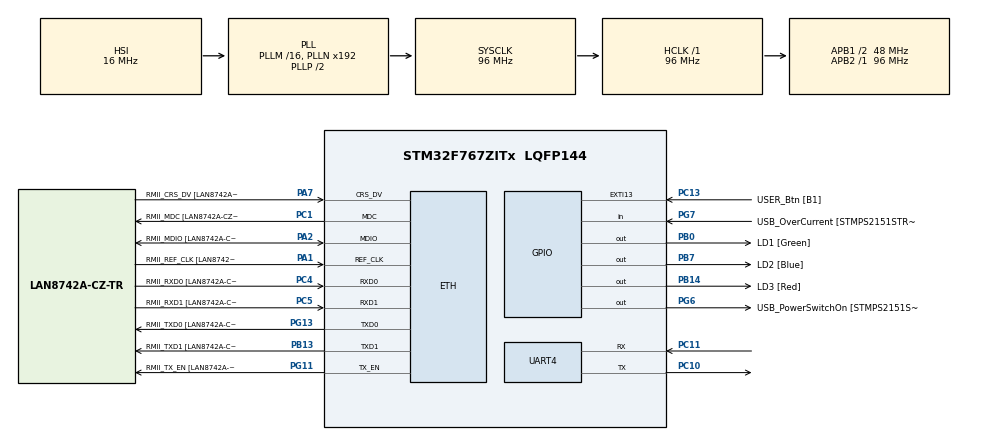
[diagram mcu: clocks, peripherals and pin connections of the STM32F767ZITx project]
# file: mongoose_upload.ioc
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ETH.MediaInterface=HAL_ETH_RMII_MODE
Mcu.Family=STM32F7
Mcu.Name=STM32F767ZITx
Mcu.Package=LQFP144
NVIC.ETH_IRQn=true\:0\:0\:false\:false\:false\:true\:true\:true
NVIC.PriorityGroup=NVIC_PRIORITYGROUP_4
PA1.GPIO_Label=RMII_REF_CLK [LAN8742A-CZ-TR_REFCLK0]
PA1.Mode=RMII
PA1.Signal=ETH_REF_CLK
PA10.GPIO_Label=USB_ID
PA10.Signal=USB_OTG_FS_ID
PA11.GPIO_Label=USB_DM
PA11.Signal=USB_OTG_FS_DM
PA12.GPIO_Label=USB_DP
PA12.Signal=USB_OTG_FS_DP
PA13.GPIO_Label=TMS
PA13.Signal=SYS_JTMS-SWDIO
PA14.GPIO_Label=TCK
PA14.Signal=SYS_JTCK-SWCLK
PA2.GPIO_Label=RMII_MDIO [LAN8742A-CZ-TR_MDIO]
PA2.Mode=RMII
PA2.Signal=ETH_MDIO
PA7.GPIO_Label=RMII_CRS_DV [LAN8742A-CZ-TR_CRS_DV]
PA7.Mode=RMII
PA7.Signal=ETH_CRS_DV
PA8.GPIO_Label=USB_SOF [TP1]
PA8.Signal=USB_OTG_FS_SOF
PA9.GPIO_Label=USB_VBUS
PA9.Signal=USB_OTG_FS_VBUS
PB0.GPIO_Label=LD1 [Green]
PB0.Signal=GPIO_Output
PB13.GPIO_Label=RMII_TXD1 [LAN8742A-CZ-TR_TXD1]
PB13.Mode=RMII
PB13.Signal=ETH_TXD1
PB14.GPIO_Label=LD3 [Red]
PB14.Signal=GPIO_Output
PB3.GPIO_Label=SW0
PB3.Signal=SYS_JTDO-SWO
PB7.GPIO_Label=LD2 [Blue]
PB7.Signal=GPIO_Output
PC1.GPIO_Label=RMII_MDC [LAN8742A-CZ-TR_MDC]
PC1.Mode=RMII
PC1.Signal=ETH_MDC
PC10.Mode=Asynchronous
PC10.Signal=UART4_TX
PC11.Mode=Asynchronous
PC11.Signal=UART4_RX
PC13.GPIO_Label=USER_Btn [B1]
PC13.Signal=GPXTI13
PC14/OSC32_IN.Signal=RCC_OSC32_IN
PC15/OSC32_OUT.Signal=RCC_OSC32_OUT
PC4.GPIO_Label=RMII_RXD0 [LAN8742A-CZ-TR_RXD0]
PC4.Mode=RMII
PC4.Signal=ETH_RXD0
PC5.GPIO_Label=RMII_RXD1 [LAN8742A-CZ-TR_RXD1]
PC5.Mode=RMII
PC5.Signal=ETH_RXD1
PD8.GPIO_Label=STLK_RX [STM32F103CBT6_PA3]
PD8.Signal=USART3_TX
PD9.GPIO_Label=STLK_TX [STM32F103CBT6_PA2]
PD9.Signal=USART3_RX
PG11.GPIO_Label=RMII_TX_EN [LAN8742A-CZ-TR_TXEN]
PG11.Mode=RMII
PG11.Signal=ETH_TX_EN
PG13.GPIO_Label=RMII_TXD0 [LAN8742A-CZ-TR_TXD0]
PG13.Mode=RMII
PG13.Signal=ETH_TXD0
PG6.GPIO_Label=USB_PowerSwitchOn [STMPS2151STR_EN]
PG6.Signal=GPIO_Output
PG7.GPIO_Label=USB_OverCurrent [STMPS2151STR_FAULT]
PG7.Signal=GPIO_Input
PH0/OSC_IN.GPIO_Label=MCO [STM32F103CBT6_PA8]
PH0/OSC_IN.Signal=RCC_OSC_IN
PH1/OSC_OUT.Signal=RCC_OSC_OUT
ProjectManager.HeapSize=0x200
ProjectManager.StackSize=0x400
ProjectManager.TargetToolchain=STM32CubeIDE
RCC.48MHZClocksFreq_Value=24000000
RCC.AHBFreq_Value=96000000
RCC.APB1CLKDivider=RCC_HCLK_DIV2
RCC.APB1Freq_Value=48000000
RCC.APB1TimFreq_Value=96000000
RCC.APB2Freq_Value=96000000
RCC.APB2TimFreq_Value=96000000
RCC.CortexFreq_Value=96000000
RCC.HCLKFreq_Value=96000000
RCC.HSE_VALUE=16000000
RCC.HSI_VALUE=16000000
RCC.LSE_VALUE=32768
RCC.PLLMUL=RCC_PLL_MUL9
RCC.PRESCALERUSB=RCC_USBCLKSOURCE_PLL_DIV1_5
RCC.SYSCLKFreq_VALUE=96000000
RCC.SYSCLKSource=RCC_SYSCLKSOURCE_PLLCLK
RCC.SYSCLKSourceVirtual=RCC_SYSCLKSOURCE_PLLCLK
RCC.USBFreq_Value=96000000
RCC.VCOOutputFreq_Value=192000000
board=NUCLEO-F767ZI

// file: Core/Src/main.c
/* USER CODE BEGIN Header */
/**
 ******************************************************************************
 * @file           : main.c
 * @brief          : Main program body
 ******************************************************************************
 * @attention
 *
 * Copyright (c) 2025 STMicroelectronics.
 * All rights reserved.
 *
 * This software is licensed under terms that can be found in the LICENSE file
 * in the root directory of this software component.
 * If no LICENSE file comes with this software, it is provided AS-IS.
 *
 ******************************************************************************
 */
/* USER CODE END Header */
#include "main.h"
#include "string.h"

/* USER CODE BEGIN Includes */
#include "mongoose.h"
#include "sodium.h"
#include "public_key.h"
/* USER CODE END Includes */

/* USER CODE BEGIN PD */
#define MAX_IMAGE_SIZE 99999
/* USER CODE END PD */

#if defined(__ICCARM__) /*!< IAR Compiler */
#pragma location = 0x2007c000
ETH_DMADescTypeDef DMARxDscrTab[ETH_RX_DESC_CNT]; /* Ethernet Rx DMA Descriptors */
#pragma location = 0x2007c0a0
ETH_DMADescTypeDef DMATxDscrTab[ETH_TX_DESC_CNT]; /* Ethernet Tx DMA Descriptors */

#elif defined(__CC_ARM) /* MDK ARM Compiler */

__attribute__((at(0x2007c000))) ETH_DMADescTypeDef DMARxDscrTab[ETH_RX_DESC_CNT]; /* Ethernet Rx DMA Descriptors */
__attribute__((at(0x2007c0a0))) ETH_DMADescTypeDef DMATxDscrTab[ETH_TX_DESC_CNT]; /* Ethernet Tx DMA Descriptors */

#elif defined(__GNUC__) /* GNU Compiler */

ETH_DMADescTypeDef DMARxDscrTab[ETH_RX_DESC_CNT] __attribute__((section(".RxDecripSection"))); /* Ethernet Rx DMA Descriptors */
ETH_DMADescTypeDef DMATxDscrTab[ETH_TX_DESC_CNT] __attribute__((section(".TxDecripSection"))); /* Ethernet Tx DMA Descriptors */
#endif

ETH_TxPacketConfig TxConfig;

ETH_HandleTypeDef heth;

UART_HandleTypeDef huart4;

/* USER CODE BEGIN PV */
randombytes_implementation blank_impl;

/* USER CODE END PV */

void SystemClock_Config(void);
static void MX_GPIO_Init(void);
static void MX_ETH_Init(void);
static void MX_UART4_Init(void);

/* USER CODE BEGIN 0 */

uint32_t blank_random()
{
  return 0;
}

void blank_buf(void *const buf, const size_t size)
{
  memset(buf, 0, size);
}

static void mylog(char ch, void *param)
{
  HAL_UART_Transmit(&huart4, &ch, 1, 100);
}

struct firmware_image
{
  char *data;
  char *data_sha256;
  char *data_signature;
  char *file_data;
  size_t wr_offset;
} main_img;

int init_firmware_image(struct firmware_image *image)
{
  assert((image->data = malloc(MAX_IMAGE_SIZE)) != NULL);
  image->wr_offset = 0;
  image->data_sha256 = image->data + 0;
  image->data_signature = image->data + 32;
  image->file_data = image->data + 96;
  return 0;
}

int verify_firmware_image(struct firmware_image *image)
{

  uint8_t calculated_data_sha256[32] = {0};

  crypto_hash_sha256(calculated_data_sha256, image->file_data, image->wr_offset - 96);
  if (memcmp(calculated_data_sha256, image->data_sha256, 32) != 0)
  {
    printf("SHA2 doesn't match \r\n");
    assert(1);
  }
  if (crypto_sign_ed25519_verify_detached(image->data_signature, calculated_data_sha256, 32, public_key) != 0)
  {
    printf("Signature doesn't match \r\n");
    assert(1);
  }
  printf("checks out \r\n");

}

int print_firmware_image(struct firmware_image *image)
{
  for (int i = 0; i < image->wr_offset; i++)
  {
    printf("%c", image->data[i]);
  }
  verify_firmware_image(image);
}

long mg_http_upload_modified(struct mg_connection *c, struct mg_http_message *hm, size_t max_size, struct firmware_image *img)
{
  char buf[20] = "0", file[MG_PATH_MAX], path[MG_PATH_MAX], total[MG_PATH_MAX];
  long res = 0, offset, total_length;
  mg_http_get_var(&hm->query, "offset", buf, sizeof(buf));
  mg_http_get_var(&hm->query, "file", file, sizeof(file));
  mg_http_get_var(&hm->query, "total", total, sizeof(total));
  offset = strtol(buf, NULL, 0);
  total_length = strtol(total, NULL, 0);
  if (hm->body.len == 0)
  {
    mg_http_reply(c, 200, "", "%ld", res); // Nothing to write
  }
  else if (file[0] == '\0')
  {
    mg_http_reply(c, 400, "", "file required");
    res = -1;
  }
  else if (mg_path_is_sane(mg_str(file)) == false)
  {
    mg_http_reply(c, 400, "", "%s: invalid file", file);
    res = -2;
  }
  else if (offset < 0)
  {
    mg_http_reply(c, 400, "", "offset required");
    res = -3;
  }
  else if ((size_t)offset + hm->body.len > max_size)
  {
    mg_http_reply(c, 400, "", "%s: over max size of %lu", path,
                  (unsigned long)max_size);
    res = -4;
  }
  else
  {
    size_t current_size = 0;
    MG_DEBUG(("%s -> %lu bytes @ %ld", path, hm->body.len, offset));
    if (offset == 0)
      img->wr_offset = 0; // if offset is 0, "delete" the firmware image by starting write from 0
    current_size = img->wr_offset;
    if (offset > 0 && current_size != (size_t)offset)
    {
      mg_http_reply(c, 400, "", "%s: offset mismatch", path);
      res = -5;
    }
    else
    {
      // printf("len is %i", hm->body.len);
      // coppy received http buffer to image buffer
      memcpy(img->data + img->wr_offset, hm->body.buf, hm->body.len);
      // printf("%s \r\n", hm->body.buf);
      for (int i = 0; i < hm->body.len; i++)
      {
        printf("%c", hm->body.buf[i]);
      }

      printf("offset %i \r\n", offset);
      img->wr_offset += hm->body.len;
      res = hm->body.len;
      if (total_length == img->wr_offset)
      {
        printf("transfer complete, total length %i current image length %i \r\n", total_length, img->wr_offset);
        print_firmware_image(img);
      }

      mg_http_reply(c, 200, "", "%ld", res);
    }
  }

  return res;
}

static void fn(struct mg_connection *c, int ev, void *ev_data)
{
  if (ev == MG_EV_HTTP_MSG)
  {
    struct mg_http_message *hm = (struct mg_http_message *)ev_data;
    if (mg_match(hm->uri, mg_str("/upload"), NULL))
    {
      // mg_http_upload(c, hm, &mg_fs_posix, "/tmp", 99999);
      mg_http_upload_modified(c, hm, MAX_IMAGE_SIZE, &main_img);
    }
    else
    {
      struct mg_http_serve_opts opts = {.root_dir = "/web_root", .fs = &mg_fs_packed};
      mg_http_serve_dir(c, ev_data, &opts);
    }
  }
}
/* USER CODE END 0 */

int main(void)
{

  /* MCU Configuration--------------------------------------------------------*/

  /* Reset of all peripherals, Initializes the Flash interface and the Systick. */
  HAL_Init();

  /* Configure the system clock */
  SystemClock_Config();

  /* Initialize all configured peripherals */
  MX_GPIO_Init();
  MX_ETH_Init();
  MX_UART4_Init();
  /* USER CODE BEGIN 2 */
  //initialize sodium
  randombytes_implementation blank = {
      .implementation_name = "blank",
      .random = blank_random,
      .buf = blank_buf,
  };

  randombytes_set_implementation(&blank);

  if (sodium_init() == -1)
  {
    return 1;
  }
  //initialize mongoose
  mg_log_set(MG_LL_DEBUG);
  mg_log_set_fn(mylog, NULL);

  struct mg_mgr mgr;
  mg_mgr_init(&mgr);
  mg_http_listen(&mgr, "http://0.0.0.0", fn, &mgr);

  init_firmware_image(&main_img);

  for (;;)
    mg_mgr_poll(&mgr, 50);

  free(main_img.data);

  /* USER CODE END 2 */

  /* Infinite loop */
  /* USER CODE BEGIN WHILE */
  while (1)
  {
    HAL_GPIO_TogglePin(GPIOA, GPIO_PIN_7);
    HAL_Delay(100);
    /* USER CODE END WHILE */

  }
}

void SystemClock_Config(void)
{
  RCC_OscInitTypeDef RCC_OscInitStruct = {0};
  RCC_ClkInitTypeDef RCC_ClkInitStruct = {0};

  /** Configure the main internal regulator output voltage
   */
  __HAL_RCC_PWR_CLK_ENABLE();
  __HAL_PWR_VOLTAGESCALING_CONFIG(PWR_REGULATOR_VOLTAGE_SCALE3);

  /** Initializes the RCC Oscillators according to the specified parameters
   * in the RCC_OscInitTypeDef structure.
   */
  RCC_OscInitStruct.OscillatorType = RCC_OSCILLATORTYPE_HSI;
  RCC_OscInitStruct.HSIState = RCC_HSI_ON;
  RCC_OscInitStruct.HSICalibrationValue = RCC_HSICALIBRATION_DEFAULT;
  RCC_OscInitStruct.PLL.PLLState = RCC_PLL_ON;
  RCC_OscInitStruct.PLL.PLLSource = RCC_PLLSOURCE_HSI;
  RCC_OscInitStruct.PLL.PLLM = 16;
  RCC_OscInitStruct.PLL.PLLN = 192;
  RCC_OscInitStruct.PLL.PLLP = RCC_PLLP_DIV2;
  RCC_OscInitStruct.PLL.PLLQ = 2;
  RCC_OscInitStruct.PLL.PLLR = 2;
  if (HAL_RCC_OscConfig(&RCC_OscInitStruct) != HAL_OK)
  {
    Error_Handler();
  }

  /** Activate the Over-Drive mode
   */
  if (HAL_PWREx_EnableOverDrive() != HAL_OK)
  {
    Error_Handler();
  }

  /** Initializes the CPU, AHB and APB buses clocks
   */
  RCC_ClkInitStruct.ClockType = RCC_CLOCKTYPE_HCLK | RCC_CLOCKTYPE_SYSCLK | RCC_CLOCKTYPE_PCLK1 | RCC_CLOCKTYPE_PCLK2;
  RCC_ClkInitStruct.SYSCLKSource = RCC_SYSCLKSOURCE_PLLCLK;
  RCC_ClkInitStruct.AHBCLKDivider = RCC_SYSCLK_DIV1;
  RCC_ClkInitStruct.APB1CLKDivider = RCC_HCLK_DIV2;
  RCC_ClkInitStruct.APB2CLKDivider = RCC_HCLK_DIV1;

  if (HAL_RCC_ClockConfig(&RCC_ClkInitStruct, FLASH_LATENCY_3) != HAL_OK)
  {
    Error_Handler();
  }
}

static void MX_ETH_Init(void)
{

  static uint8_t MACAddr[6];

  heth.Instance = ETH;
  MACAddr[0] = 0x00;
  MACAddr[1] = 0x80;
  MACAddr[2] = 0xE1;
  MACAddr[3] = 0x00;
  MACAddr[4] = 0x00;
  MACAddr[5] = 0x00;
  heth.Init.MACAddr = &MACAddr[0];
  heth.Init.MediaInterface = HAL_ETH_RMII_MODE;
  heth.Init.TxDesc = DMATxDscrTab;
  heth.Init.RxDesc = DMARxDscrTab;
  heth.Init.RxBuffLen = 1524;

  if (HAL_ETH_Init(&heth) != HAL_OK)
  {
    Error_Handler();
  }

  memset(&TxConfig, 0, sizeof(ETH_TxPacketConfig));
  TxConfig.Attributes = ETH_TX_PACKETS_FEATURES_CSUM | ETH_TX_PACKETS_FEATURES_CRCPAD;
  TxConfig.ChecksumCtrl = ETH_CHECKSUM_IPHDR_PAYLOAD_INSERT_PHDR_CALC;
  TxConfig.CRCPadCtrl = ETH_CRC_PAD_INSERT;
}

static void MX_UART4_Init(void)
{

  huart4.Instance = UART4;
  huart4.Init.BaudRate = 115200;
  huart4.Init.WordLength = UART_WORDLENGTH_8B;
  huart4.Init.StopBits = UART_STOPBITS_1;
  huart4.Init.Parity = UART_PARITY_NONE;
  huart4.Init.Mode = UART_MODE_TX_RX;
  huart4.Init.HwFlowCtl = UART_HWCONTROL_NONE;
  huart4.Init.OverSampling = UART_OVERSAMPLING_16;
  huart4.Init.OneBitSampling = UART_ONE_BIT_SAMPLE_DISABLE;
  huart4.AdvancedInit.AdvFeatureInit = UART_ADVFEATURE_NO_INIT;
  if (HAL_UART_Init(&huart4) != HAL_OK)
  {
    Error_Handler();
  }
}

static void MX_GPIO_Init(void)
{
  GPIO_InitTypeDef GPIO_InitStruct = {0};

  /* GPIO Ports Clock Enable */
  __HAL_RCC_GPIOC_CLK_ENABLE();
  __HAL_RCC_GPIOH_CLK_ENABLE();
  __HAL_RCC_GPIOA_CLK_ENABLE();
  __HAL_RCC_GPIOB_CLK_ENABLE();
  __HAL_RCC_GPIOD_CLK_ENABLE();
  __HAL_RCC_GPIOG_CLK_ENABLE();

  /*Configure GPIO pin Output Level */
  HAL_GPIO_WritePin(GPIOB, LD1_Pin | LD3_Pin | LD2_Pin, GPIO_PIN_RESET);

  /*Configure GPIO pin Output Level */
  HAL_GPIO_WritePin(USB_PowerSwitchOn_GPIO_Port, USB_PowerSwitchOn_Pin, GPIO_PIN_RESET);

  /*Configure GPIO pin : USER_Btn_Pin */
  GPIO_InitStruct.Pin = USER_Btn_Pin;
  GPIO_InitStruct.Mode = GPIO_MODE_IT_RISING;
  GPIO_InitStruct.Pull = GPIO_NOPULL;
  HAL_GPIO_Init(USER_Btn_GPIO_Port, &GPIO_InitStruct);

  /*Configure GPIO pins : LD1_Pin LD3_Pin LD2_Pin */
  GPIO_InitStruct.Pin = LD1_Pin | LD3_Pin | LD2_Pin;
  GPIO_InitStruct.Mode = GPIO_MODE_OUTPUT_PP;
  GPIO_InitStruct.Pull = GPIO_NOPULL;
  GPIO_InitStruct.Speed = GPIO_SPEED_FREQ_LOW;
  HAL_GPIO_Init(GPIOB, &GPIO_InitStruct);

  /*Configure GPIO pins : STLK_RX_Pin STLK_TX_Pin */
  GPIO_InitStruct.Pin = STLK_RX_Pin | STLK_TX_Pin;
  GPIO_InitStruct.Mode = GPIO_MODE_AF_PP;
  GPIO_InitStruct.Pull = GPIO_NOPULL;
  GPIO_InitStruct.Speed = GPIO_SPEED_FREQ_VERY_HIGH;
  GPIO_InitStruct.Alternate = GPIO_AF7_USART3;
  HAL_GPIO_Init(GPIOD, &GPIO_InitStruct);

  /*Configure GPIO pin : USB_PowerSwitchOn_Pin */
  GPIO_InitStruct.Pin = USB_PowerSwitchOn_Pin;
  GPIO_InitStruct.Mode = GPIO_MODE_OUTPUT_PP;
  GPIO_InitStruct.Pull = GPIO_NOPULL;
  GPIO_InitStruct.Speed = GPIO_SPEED_FREQ_LOW;
  HAL_GPIO_Init(USB_PowerSwitchOn_GPIO_Port, &GPIO_InitStruct);

  /*Configure GPIO pin : USB_OverCurrent_Pin */
  GPIO_InitStruct.Pin = USB_OverCurrent_Pin;
  GPIO_InitStruct.Mode = GPIO_MODE_INPUT;
  GPIO_InitStruct.Pull = GPIO_NOPULL;
  HAL_GPIO_Init(USB_OverCurrent_GPIO_Port, &GPIO_InitStruct);

  /*Configure GPIO pins : USB_SOF_Pin USB_ID_Pin USB_DM_Pin USB_DP_Pin */
  GPIO_InitStruct.Pin = USB_SOF_Pin | USB_ID_Pin | USB_DM_Pin | USB_DP_Pin;
  GPIO_InitStruct.Mode = GPIO_MODE_AF_PP;
  GPIO_InitStruct.Pull = GPIO_NOPULL;
  GPIO_InitStruct.Speed = GPIO_SPEED_FREQ_VERY_HIGH;
  GPIO_InitStruct.Alternate = GPIO_AF10_OTG_FS;
  HAL_GPIO_Init(GPIOA, &GPIO_InitStruct);

  /*Configure GPIO pin : USB_VBUS_Pin */
  GPIO_InitStruct.Pin = USB_VBUS_Pin;
  GPIO_InitStruct.Mode = GPIO_MODE_INPUT;
  GPIO_InitStruct.Pull = GPIO_NOPULL;
  HAL_GPIO_Init(USB_VBUS_GPIO_Port, &GPIO_InitStruct);

}

void Error_Handler(void)
{
  __disable_irq();
  while (1)
  {
  }
}
